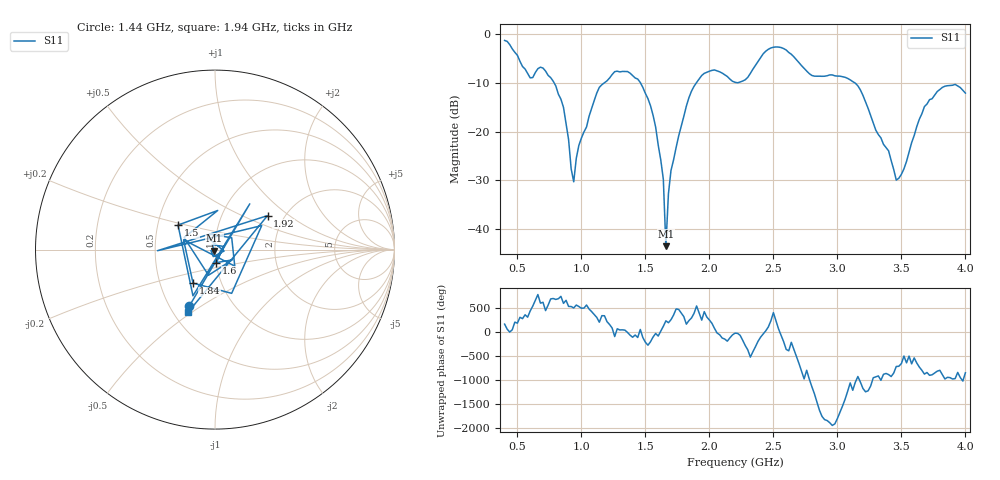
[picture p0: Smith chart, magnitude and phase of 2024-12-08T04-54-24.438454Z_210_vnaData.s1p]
!Created with skrf (http://scikit-rf.org).
# Hz S RI R 50.0
!freq ReS11 ImS11
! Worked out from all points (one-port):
!   181 points, 400 MHz to 4 GHz, reference 50 ohm
!   lowest |S11| = -43.5 dB at 1.66 GHz (marker M1), VSWR 1.01, Z = 49.6 - j0.522 ohm
!   |S11| at or under -10 dB: 787.6 MHz to 1.177 GHz (389.8 MHz wide, 39.7 % of centre); 1.462 GHz to 1.897 GHz (434.9 MHz wide, 25.9 % of centre); 3.138 GHz to end of sweep
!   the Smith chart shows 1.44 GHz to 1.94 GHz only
!   S11 on the Smith chart (normalised r, x): 1.44 GHz: 0.62, -0.45; 1.5 GHz: 0.64, +0.19; 1.6 GHz: 1.01, -0.15; 1.84 GHz: 0.73, -0.29; 1.92 GHz: 1.64, +0.71; 1.94 GHz: 0.60, -0.48
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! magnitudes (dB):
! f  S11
! 400 MHz  -1.3
! 600 MHz  -8.9
! 700 MHz  -6.9
! 860 MHz  -15.0
! 940 MHz  -30.3
! 980 MHz  -22.8
! 1.12 GHz  -12.1
! 1.3 GHz  -7.7
! 1.44 GHz  -9.2
! 1.5 GHz  -12.1
! 1.6 GHz  -22.7
! 1.64 GHz  -29.8
! 1.66 GHz  -43.5
! 1.68 GHz  -32.7
! 1.7 GHz  -27.9
! 1.76 GHz  -20.9
! 1.84 GHz  -13.0
! 1.92 GHz  -9.2
! 1.94 GHz  -8.5
! 2.2 GHz  -9.8
! 2.48 GHz  -2.8
! 2.66 GHz  -4.6
! 3.1 GHz  -9.4
! 3.4 GHz  -23.9
! 3.46 GHz  -29.9
! 3.56 GHz  -24.2
! 3.78 GHz  -11.7
! 4 GHz  -12.1
